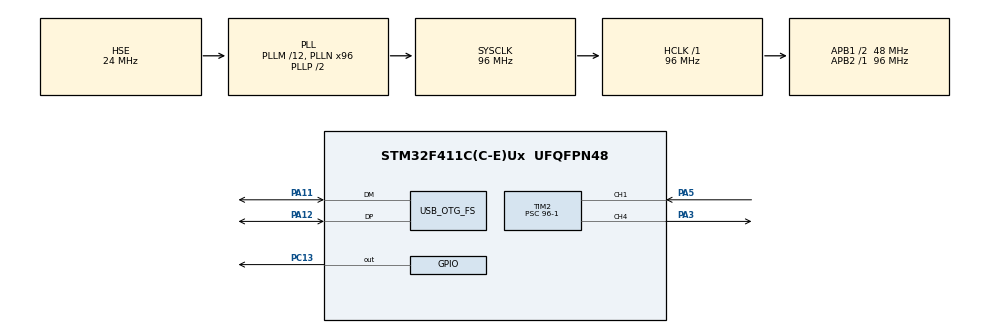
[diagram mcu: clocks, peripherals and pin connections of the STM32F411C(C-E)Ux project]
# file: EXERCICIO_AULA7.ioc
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Mcu.Family=STM32F4
Mcu.Name=STM32F411C(C-E)Ux
Mcu.Package=UFQFPN48
NVIC.OTG_FS_IRQn=true\:0\:0\:false\:false\:true\:false\:true\:true
NVIC.PriorityGroup=NVIC_PRIORITYGROUP_4
PA0-WKUP.Mode=SYS_WakeUp0
PA0-WKUP.Signal=SYS_WKUP
PA11.Mode=Device_Only
PA11.Signal=USB_OTG_FS_DM
PA12.Mode=Device_Only
PA12.Signal=USB_OTG_FS_DP
PA13.Mode=Serial_Wire
PA13.Signal=SYS_JTMS-SWDIO
PA14.Mode=Serial_Wire
PA14.Signal=SYS_JTCK-SWCLK
PA3.Signal=S_TIM2_CH4
PA5.Signal=S_TIM2_CH1_ETR
PC13-ANTI_TAMP.Signal=GPIO_Output
PH0\ -\ OSC_IN.Mode=HSE-External-Oscillator
PH0\ -\ OSC_IN.Signal=RCC_OSC_IN
PH1\ -\ OSC_OUT.Mode=HSE-External-Oscillator
PH1\ -\ OSC_OUT.Signal=RCC_OSC_OUT
ProjectManager.HeapSize=0x200
ProjectManager.StackSize=0x400
ProjectManager.TargetToolchain=STM32CubeIDE
RCC.48MHZClocksFreq_Value=48000000
RCC.AHBFreq_Value=96000000
RCC.APB1CLKDivider=RCC_HCLK_DIV2
RCC.APB1Freq_Value=48000000
RCC.APB1TimFreq_Value=96000000
RCC.APB2Freq_Value=96000000
RCC.APB2TimFreq_Value=96000000
RCC.CortexFreq_Value=96000000
RCC.HCLKFreq_Value=96000000
RCC.HSE_VALUE=24000000
RCC.HSI_VALUE=16000000
RCC.LSE_VALUE=32768
RCC.PLLM=12
RCC.PLLN=96
RCC.SYSCLKFreq_VALUE=96000000
RCC.SYSCLKSource=RCC_SYSCLKSOURCE_PLLCLK
RCC.VCOOutputFreq_Value=192000000
SH.S_TIM2_CH1_ETR.0=TIM2_CH1,TriggerSource_TI1FP1
SH.S_TIM2_CH4.0=TIM2_CH4,PWM Generation4 CH4
TIM2.Channel-PWM\ Generation4\ CH4=TIM_CHANNEL_4
TIM2.OCPolarity_4=TIM_OCPOLARITY_LOW
TIM2.Period=1250-1
TIM2.Prescaler=96-1
TIM2.Pulse-PWM\ Generation4\ CH4=1150-1
TIM2.Slave_TriggerPolarity=TIM_TRIGGERPOLARITY_BOTHEDGE
USB_DEVICE.CLASS_NAME_FS=CDC
USB_DEVICE.VirtualMode=Cdc
USB_DEVICE.VirtualModeFS=Cdc_FS
USB_OTG_FS.VirtualMode=Device_Only
VP_TIM2_VS_ClockSourceINT.Mode=Internal
VP_TIM2_VS_ControllerModeReset.Mode=Reset Mode
VP_USB_DEVICE_VS_USB_DEVICE_CDC_FS.Mode=CDC_FS
board=custom

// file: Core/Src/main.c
/* USER CODE BEGIN Header */
/**
 ******************************************************************************
 * @file           : main.c
 * @brief          : Main program body
 ******************************************************************************
 * @attention
 *
 * Copyright (c) 2024 STMicroelectronics.
 * All rights reserved.
 *
 * This software is licensed under terms that can be found in the LICENSE file
 * in the root directory of this software component.
 * If no LICENSE file comes with this software, it is provided AS-IS.
 *
 ******************************************************************************
 */
/* USER CODE END Header */
#include "main.h"
#include "usb_device.h"

/* USER CODE BEGIN PD */
#define ONEGRAPH
//#define TWOGRAPHS
/* USER CODE END PD */

TIM_HandleTypeDef htim2;

/* USER CODE BEGIN PV */
HAL_StatusTypeDef Ret;
GPIO_PinState extTrigger, outTimer2;
char buffer[50];
/* USER CODE END PV */

void SystemClock_Config(void);
static void MX_GPIO_Init(void);
static void MX_TIM2_Init(void);
/* USER CODE BEGIN PFP */
extern uint8_t CDC_Transmit_FS(uint8_t *Buf, uint16_t Len);
/* USER CODE END PFP */

int main(void)
{

  /* MCU Configuration--------------------------------------------------------*/

  /* Reset of all peripherals, Initializes the Flash interface and the Systick. */
  HAL_Init();

  /* Configure the system clock */
  SystemClock_Config();

  /* Initialize all configured peripherals */
  MX_GPIO_Init();
  MX_USB_DEVICE_Init();
  MX_TIM2_Init();
  /* USER CODE BEGIN 2 */
  Ret = HAL_TIM_PWM_Start(&htim2, TIM_CHANNEL_4);
  if (Ret == HAL_OK) {
	  HAL_GPIO_WritePin(GPIOC, GPIO_PIN_13, GPIO_PIN_RESET);
  }
  /* USER CODE END 2 */

  /* Infinite loop */
  /* USER CODE BEGIN WHILE */
	while (1) {

		extTrigger = HAL_GPIO_ReadPin(GPIOA, GPIO_PIN_5);
		outTimer2 = HAL_GPIO_ReadPin(GPIOA, GPIO_PIN_3);

		#if defined(ONEGRAPH)
			sprintf(buffer, "%d\n", outTimer2);
			CDC_Transmit_FS((uint8_t*)buffer, strlen(buffer));
		#elif defined(TWOGRAPHS)
			sprintf(buffer, "%d\t%d\n", extTrigger, outTimer2);
			CDC_Transmit_FS((uint8_t*)buffer, strlen(buffer));
		#endif

    /* USER CODE END WHILE */

	}
}

void SystemClock_Config(void)
{
  RCC_OscInitTypeDef RCC_OscInitStruct = {0};
  RCC_ClkInitTypeDef RCC_ClkInitStruct = {0};

  /** Configure the main internal regulator output voltage
  */
  __HAL_RCC_PWR_CLK_ENABLE();
  __HAL_PWR_VOLTAGESCALING_CONFIG(PWR_REGULATOR_VOLTAGE_SCALE1);

  /** Initializes the RCC Oscillators according to the specified parameters
  * in the RCC_OscInitTypeDef structure.
  */
  RCC_OscInitStruct.OscillatorType = RCC_OSCILLATORTYPE_HSE;
  RCC_OscInitStruct.HSEState = RCC_HSE_ON;
  RCC_OscInitStruct.PLL.PLLState = RCC_PLL_ON;
  RCC_OscInitStruct.PLL.PLLSource = RCC_PLLSOURCE_HSE;
  RCC_OscInitStruct.PLL.PLLM = 12;
  RCC_OscInitStruct.PLL.PLLN = 96;
  RCC_OscInitStruct.PLL.PLLP = RCC_PLLP_DIV2;
  RCC_OscInitStruct.PLL.PLLQ = 4;
  if (HAL_RCC_OscConfig(&RCC_OscInitStruct) != HAL_OK)
  {
    Error_Handler();
  }

  /** Initializes the CPU, AHB and APB buses clocks
  */
  RCC_ClkInitStruct.ClockType = RCC_CLOCKTYPE_HCLK|RCC_CLOCKTYPE_SYSCLK
                              |RCC_CLOCKTYPE_PCLK1|RCC_CLOCKTYPE_PCLK2;
  RCC_ClkInitStruct.SYSCLKSource = RCC_SYSCLKSOURCE_PLLCLK;
  RCC_ClkInitStruct.AHBCLKDivider = RCC_SYSCLK_DIV1;
  RCC_ClkInitStruct.APB1CLKDivider = RCC_HCLK_DIV2;
  RCC_ClkInitStruct.APB2CLKDivider = RCC_HCLK_DIV1;

  if (HAL_RCC_ClockConfig(&RCC_ClkInitStruct, FLASH_LATENCY_3) != HAL_OK)
  {
    Error_Handler();
  }
}

static void MX_TIM2_Init(void)
{

  TIM_ClockConfigTypeDef sClockSourceConfig = {0};
  TIM_SlaveConfigTypeDef sSlaveConfig = {0};
  TIM_MasterConfigTypeDef sMasterConfig = {0};
  TIM_OC_InitTypeDef sConfigOC = {0};

  htim2.Instance = TIM2;
  htim2.Init.Prescaler = 96-1;
  htim2.Init.CounterMode = TIM_COUNTERMODE_UP;
  htim2.Init.Period = 1250-1;
  htim2.Init.ClockDivision = TIM_CLOCKDIVISION_DIV1;
  htim2.Init.AutoReloadPreload = TIM_AUTORELOAD_PRELOAD_DISABLE;
  if (HAL_TIM_Base_Init(&htim2) != HAL_OK)
  {
    Error_Handler();
  }
  sClockSourceConfig.ClockSource = TIM_CLOCKSOURCE_INTERNAL;
  if (HAL_TIM_ConfigClockSource(&htim2, &sClockSourceConfig) != HAL_OK)
  {
    Error_Handler();
  }
  if (HAL_TIM_PWM_Init(&htim2) != HAL_OK)
  {
    Error_Handler();
  }
  sSlaveConfig.SlaveMode = TIM_SLAVEMODE_RESET;
  sSlaveConfig.InputTrigger = TIM_TS_TI1FP1;
  sSlaveConfig.TriggerPolarity = TIM_TRIGGERPOLARITY_BOTHEDGE;
  sSlaveConfig.TriggerFilter = 0;
  if (HAL_TIM_SlaveConfigSynchro(&htim2, &sSlaveConfig) != HAL_OK)
  {
    Error_Handler();
  }
  sMasterConfig.MasterOutputTrigger = TIM_TRGO_RESET;
  sMasterConfig.MasterSlaveMode = TIM_MASTERSLAVEMODE_DISABLE;
  if (HAL_TIMEx_MasterConfigSynchronization(&htim2, &sMasterConfig) != HAL_OK)
  {
    Error_Handler();
  }
  sConfigOC.OCMode = TIM_OCMODE_PWM1;
  sConfigOC.Pulse = 1150-1;
  sConfigOC.OCPolarity = TIM_OCPOLARITY_LOW;
  sConfigOC.OCFastMode = TIM_OCFAST_DISABLE;
  if (HAL_TIM_PWM_ConfigChannel(&htim2, &sConfigOC, TIM_CHANNEL_4) != HAL_OK)
  {
    Error_Handler();
  }
  HAL_TIM_MspPostInit(&htim2);

}

static void MX_GPIO_Init(void)
{
  GPIO_InitTypeDef GPIO_InitStruct = {0};

  /* GPIO Ports Clock Enable */
  __HAL_RCC_GPIOC_CLK_ENABLE();
  __HAL_RCC_GPIOH_CLK_ENABLE();
  __HAL_RCC_GPIOA_CLK_ENABLE();

  /*Configure GPIO pin Output Level */
  HAL_GPIO_WritePin(GPIOC, GPIO_PIN_13, GPIO_PIN_RESET);

  /*Configure GPIO pin : PC13 */
  GPIO_InitStruct.Pin = GPIO_PIN_13;
  GPIO_InitStruct.Mode = GPIO_MODE_OUTPUT_PP;
  GPIO_InitStruct.Pull = GPIO_NOPULL;
  GPIO_InitStruct.Speed = GPIO_SPEED_FREQ_LOW;
  HAL_GPIO_Init(GPIOC, &GPIO_InitStruct);

}

void Error_Handler(void)
{
	__disable_irq();
	while (1) {
	}
}
